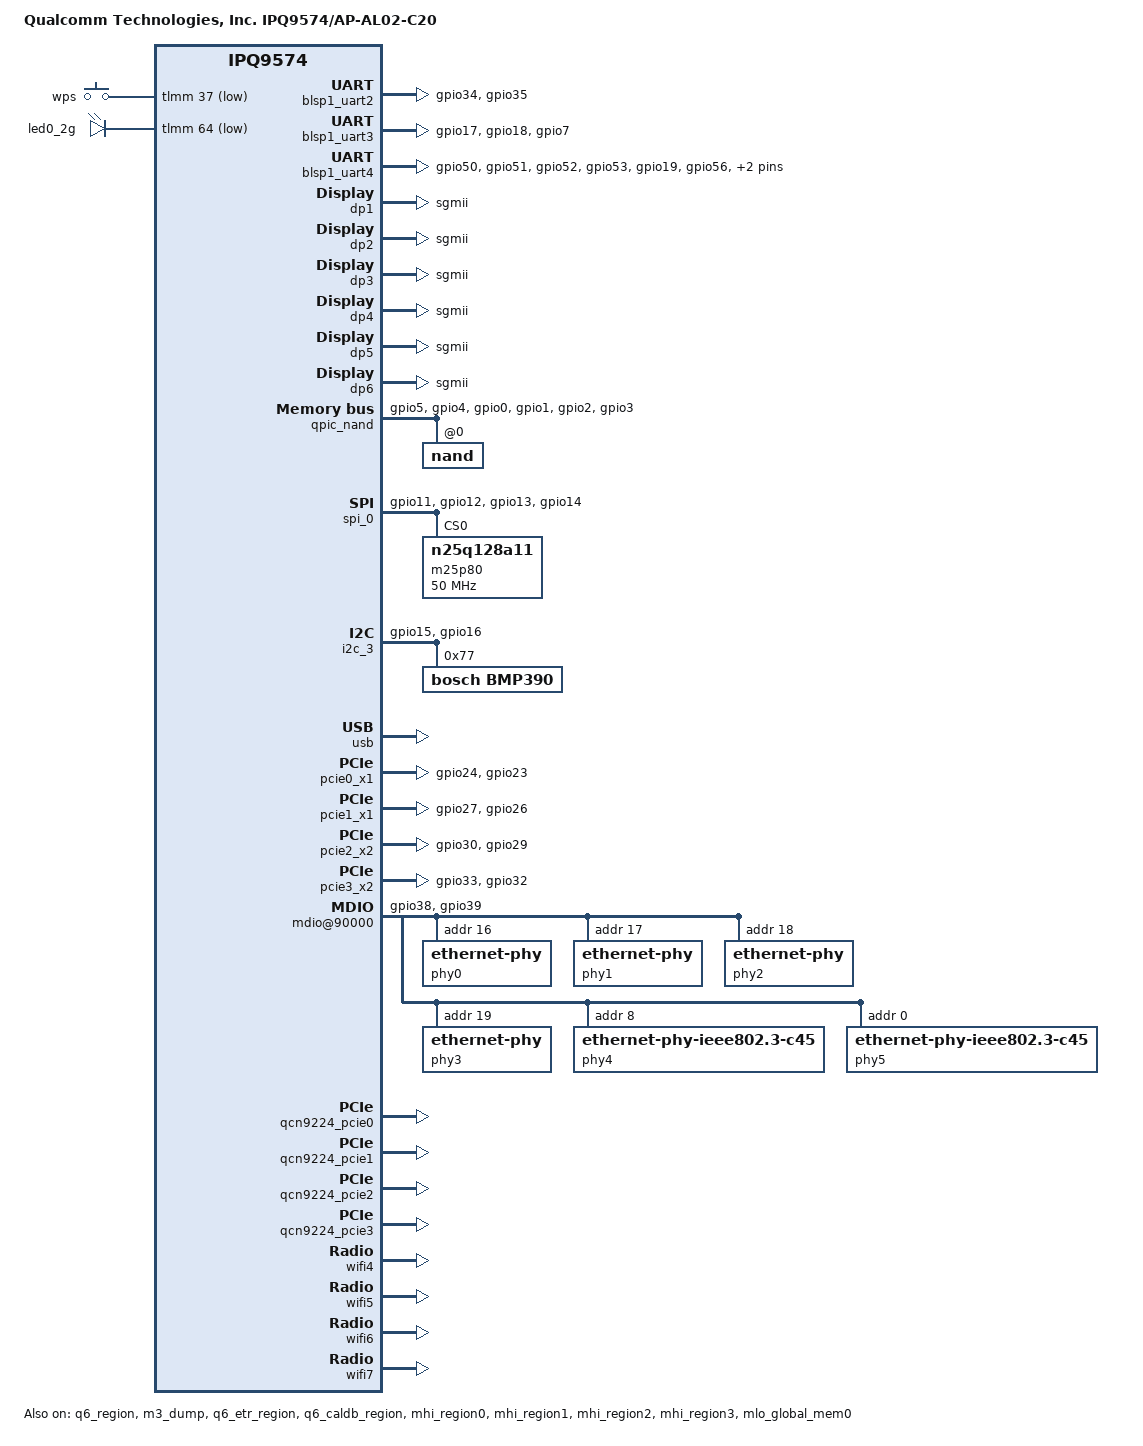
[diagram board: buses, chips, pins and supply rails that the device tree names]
// SPDX-License-Identifier: (GPL-2.0+ OR BSD-3-Clause)
/*
 * IPQ9574 AL02-C20 board device tree source
 *
 * Copyright (c) 2020-2021 The Linux Foundation. All rights reserved.
 * Copyright (c) 2021-2023 Qualcomm Innovation Center, Inc. All rights reserved.
 */

/dts-v1/;

#include "ipq9574.dtsi"
#include "ipq9574-wkk-default-memory.dtsi"
#include "ipq9574-cpu.dtsi"

/ {
	#address-cells = <0x2>;
	#size-cells = <0x2>;
	model = "Qualcomm Technologies, Inc. IPQ9574/AP-AL02-C20";
	compatible = "qcom,ipq9574-ap-al02-c20", "qcom,ipq9574-al02", "qcom,ipq9574";
	interrupt-parent = <&intc>;

	aliases {
		serial0 = &blsp1_uart2;
		serial1 = &blsp1_uart4;
		serial2 = &blsp1_uart3;
		ethernet0 = "/soc/dp1";
		ethernet1 = "/soc/dp2";
		ethernet2 = "/soc/dp3";
		ethernet3 = "/soc/dp4";
		ethernet4 = "/soc/dp5";
		ethernet5 = "/soc/dp6";
	};

	chosen {
		stdout-path = "serial0";
	};

	soc {
		pinctrl@1000000 {
			pci0_pin: pci0-pinmux {
				pins = "gpio23";
				function = "gpio";
				drive-strength = <8>;
				bias-pull-up;
				output-low;
			};

			pci1_pin: pci1-pinmux {
				pins = "gpio26";
				function = "gpio";
				drive-strength = <8>;
				bias-pull-down;
				output-low;
			};

			pci2_pin: pci2-pinmux {
				pins = "gpio29";
				function = "gpio";
				drive-strength = <8>;
				bias-pull-down;
				output-low;
			};

			pci3_pin: pci3-pinmux {
				pins = "gpio32";
				function = "gpio";
				drive-strength = <8>;
				bias-pull-up;
				output-low;
			};

			pcie0_wake_pins: pcie0_wake_gpio {
				pins = "gpio24";
				function = "pcie0_wake";
				drive-strength = <8>;
				bias-pull-up;
			};

			pcie1_wake_pins: pcie1_wake_gpio {
				pins = "gpio27";
				function = "pcie1_wake";
				drive-strength = <8>;
				bias-pull-up;
			};

			pcie2_wake_pins: pcie2_wake_gpio {
				pins = "gpio30";
				function = "pcie2_wake";
				drive-strength = <8>;
				bias-pull-up;
			};

			pcie3_wake_pins: pcie3_wake_gpio {
				pins = "gpio33";
				function = "pcie3_wake";
				drive-strength = <8>;
				bias-pull-up;
			};

			blsp1_uart2_pins: blsp1_uart2_pinmux {
				pins = "gpio34", "gpio35";
				function = "blsp2_uart";
				drive-strength = <8>;
				bias-disable;
			};

			gps_pins: gps_pins {
				blsp3_uart_pinmux {
					pins = "gpio17", "gpio18";
					function = "blsp3_uart";
					drive-strength = <8>;
					bias-disable;
				 };

				gps_on_off {
					pins = "gpio7";
					function = "gpio";
					drive-strength = <8>;
					bias-pull-down;
				 };
			 };

			leds_pins: leds_pinmux {
				led0_2g {
					pins = "gpio64";
					function = "gpio";
					drive-strength = <8>;
					bias-pull-up;
				};
			};

			qspi_nand_pins: qspi_nand_pins {
				qspi_clock {
					pins = "gpio5";
					function = "qspi_clk";
					drive-strength = <8>;
					bias-disable;
				};

				qspi_cs {
					pins = "gpio4";
					function = "qspi_cs";
					drive-strength = <8>;
					bias-disable;
				};

				qspi_data {
					pins = "gpio0", "gpio1", "gpio2", "gpio3";
					function = "qspi_data";
					drive-strength = <8>;
					bias-disable;
				};
			};

			spi_0_pins: spi-0-pins {
				pins = "gpio11", "gpio12", "gpio13", "gpio14";
				function = "blsp0_spi";
				drive-strength = <8>;
				bias-disable;
			};

			i2c_3_pins: i2c-3-pins {
				pins = "gpio15", "gpio16";
				function = "blsp3_i2c";
				drive-strength = <8>;
				bias-disable;
			};

			mdio_pins: mdio_pinmux {
				mux_0 {
					pins = "gpio38";
					function = "mdc";
					drive-strength = <8>;
					bias-disable;
				};
				mux_1 {
					pins = "gpio39";
					function = "mdio";
					drive-strength = <8>;
					bias-pull-up;
				};
			};

			button_pins: button_pins {
				wps_button {
					pins = "gpio37";
					function = "gpio";
					drive-strength = <8>;
					bias-pull-up;
				};
			};

			QCC710_pins: QCC710_pins {
				blsp1_uart4_pinmux {
					pins = "gpio50", "gpio51", "gpio52", "gpio53";
					function = "blsp4_uart";
					drive-strength = <8>;
					bias-disable;
				};
				QCC710_reset {
					pins = "gpio19";
					function = "gpio";
					drive-strength = <8>;
					bias-pull-down;
				};
			};

			pta_QCC710: pta_QCC710 {
				pta1_0 {
					pins = "gpio56";
					function = "pta1_0";
					drive-strength = <8>;
					bias-disable;
				};
				pta1_1 {
					pins = "gpio54";
					function = "pta1_1";
					drive-strength = <8>;
					bias-disable;
				};
				pta1_2 {
					pins = "gpio55";
					function = "pta1_2";
					drive-strength = <8>;
					bias-disable;
				};
			};
		};

		blsp1_uart2: serial@78b1000 {
			pinctrl-0 = <&blsp1_uart2_pins>;
			pinctrl-names = "default";
			status = "ok";
		};

		blsp1_uart3: serial@78b2000 {
			pinctrl-0 = <&gps_pins>;
			pinctrl-names = "default";
			status = "ok";
		 };

		blsp1_uart4: serial@78b3000 {
			pinctrl-0 = <&QCC710_pins &pta_QCC710>;
			pinctrl-names = "default";
			status = "ok";
		};

		gpio_keys {
			compatible = "gpio-keys";
			pinctrl-0 = <&button_pins>;
			pinctrl-names = "default";
			status = "ok";

			button@1 {
				label = "wps";
				linux,code = <KEY_WPS_BUTTON>;
				gpios = <&tlmm 37 GPIO_ACTIVE_LOW>;
				linux,input-type = <1>;
				debounce-interval = <60>;
			};
		};

		dp1 {
			device_type = "network";
			compatible = "qcom,nss-dp";
			qcom,id = <1>;
			reg = <0x3a001000 0x200>;
			qcom,mactype = <0>;
			qcom,link-poll = <1>;
			local-mac-address = [000000000000];
			qcom,phy-mdio-addr = <16>;
			phy-mode = "sgmii";
		};

		dp2 {
			device_type = "network";
			compatible = "qcom,nss-dp";
			qcom,id = <2>;
			reg = <0x3a001200 0x200>;
			qcom,mactype = <0>;
			qcom,link-poll = <1>;
			local-mac-address = [000000000000];
			qcom,phy-mdio-addr = <17>;
			phy-mode = "sgmii";
		};

		dp3 {
			device_type = "network";
			compatible = "qcom,nss-dp";
			qcom,id = <3>;
			reg = <0x3a001400 0x200>;
			qcom,mactype = <0>;
			qcom,link-poll = <1>;
			local-mac-address = [000000000000];
			qcom,phy-mdio-addr = <18>;
			phy-mode = "sgmii";
		};

		dp4 {
			device_type = "network";
			compatible = "qcom,nss-dp";
			qcom,id = <4>;
			reg = <0x3a001600 0x200>;
			qcom,mactype = <0>;
			qcom,link-poll = <1>;
			local-mac-address = [000000000000];
			qcom,phy-mdio-addr = <19>;
			phy-mode = "sgmii";
		};

		dp5 {
			device_type = "network";
			compatible = "qcom,nss-dp";
			qcom,id = <5>;
			reg = <0x3a510000 0x4000>;
			qcom,mactype = <1>;
			qcom,link-poll = <1>;
			local-mac-address = [000000000000];
			qcom,phy-mdio-addr = <8>;
			phy-mode = "sgmii";
		};

		dp6 {
			device_type = "network";
			compatible = "qcom,nss-dp";
			qcom,id = <6>;
			reg = <0x3a514000 0x4000>;
			qcom,mactype = <1>;
			qcom,link-poll = <1>;
			local-mac-address = [000000000000];
			qcom,phy-mdio-addr = <0>;
			phy-mode = "sgmii";
		};

		qpic_bam: dma@7984000 {
			status = "ok";
		};

		qpic_nand: nand@79b0000 {
			status = "ok";
			pinctrl-0 = <&qspi_nand_pins>;
			pinctrl-names = "default";

			nand@0 {
				reg = <0>;
				#address-cells = <1>;
				#size-cells = <1>;

				nand-ecc-strength = <4>;
				nand-ecc-step-size = <512>;
				nand-bus-width = <8>;
			};
		};

		spi_0: spi@78b5000 { /* BLSP1 QUP0 */
			status = "ok";
			pinctrl-0 = <&spi_0_pins>;
			pinctrl-names = "default";
			cs-select = <0>;

			m25p80@0 {
				compatible = "n25q128a11";
				#address-cells = <1>;
				#size-cells = <1>;
				reg = <0>;
				spi-max-frequency = <50000000>;
			};
		};

		eud: qcom,msm-eud {
			status = "ok";
		};

		i2c_3: i2c@78b8000 {
			status = "ok";
			pinctrl-0 = <&i2c_3_pins>;
			pinctrl-names = "default";

			bmp390@77 {
				compatible = "bosch,bmp390";
				reg = <0x77>;
			};
		};

		usb: usb3@8A00000 {
			status = "ok";
		};

		qusb_phy_0: qusb@7B000 {
			status = "ok";
		};

		ssphy_0: ssphy@7D000 {
			status = "ok";
		};

		leds {
			compatible = "gpio-leds";
			pinctrl-0 = <&leds_pins>;
			pinctrl-names = "default";
			led@64 {
				label = "led0_2g";
				gpios = <&tlmm 64 GPIO_ACTIVE_LOW>;
				linux,default-trigger = "led_2g";
				default-state = "off";
			};
		};

		wsi: wsi {
			id = <0>;
			num_chip = <4>;
		};

		pcie0_x1: pci@28000000 {
			pinctrl-0 = <&pcie0_wake_pins &pci0_pin>;
			pinctrl-names = "default";
			interrupts-extended = <&tlmm 24 IRQ_TYPE_LEVEL_HIGH>,
					      <&intc GIC_SPI 51 IRQ_TYPE_LEVEL_HIGH>;
			interrupt-names = "wake_gpio", "global_irq";
			perst-gpio = <&tlmm 23 1>;
			max-payload-size = <1>; // 1-256 TLP bytes for WKK
			status = "ok";
			pcie0_rp {
				reg = <0 0 0 0 0>;

				wifi@0 {
					reg = <0 0 0 0 0>;

					qti,disable-rddm-prealloc;
					qti,rddm-seg-len = <0x1000>;
					boot-args = <0x2 0x4 0x34 0x3 0x0 0x0     /* MX Rail, GPIO52, Drive strength 0x3 */
							0x4 0x4 0x18 0x3 0x0 0x0  /* RFA1p2 Rail, GPIO24, Drive strength 0x3 */
							0x0 0x4 0x0 0x0 0x0 0x0>; /* End of arguments */
					license-file = "";
					qcom,wsi = <&wsi>;
#if defined(__CNSS2__)
					qrtr_node_id = <0x30>;
					memory-region = <0>,<&mhi_region0>;
#endif
				};

			};
		};

		pcie0_phy: phy@84000 {
			status = "ok";
		};

		pcie1_x1: pci@10000000 {
			pinctrl-0 = <&pcie1_wake_pins &pci1_pin>;
			pinctrl-names = "default";
			interrupts-extended = <&tlmm 27 IRQ_TYPE_LEVEL_HIGH>,
					      <&intc GIC_SPI 25 IRQ_TYPE_LEVEL_HIGH>;
			interrupt-names = "wake_gpio", "global_irq";
			perst-gpio = <&tlmm 26 1>;
			max-payload-size = <1>; // 1-256 TLP bytes for WKK
			status = "ok";
			pcie1_rp {
				reg = <0 0 0 0 0>;

				wifi@1 {
					reg = <0 0 0 0 0>;

					qti,disable-rddm-prealloc;
					qti,rddm-seg-len = <0x1000>;
					boot-args = <0x2 0x4 0x34 0x3 0x0 0x0     /* MX Rail, GPIO52, Drive strength 0x3 */
							0x4 0x4 0x18 0x3 0x0 0x0  /* RFA1p2 Rail, GPIO24, Drive strength 0x3 */
							0x0 0x4 0x0 0x0 0x0 0x0>; /* End of arguments */
					license-file = "";
					qcom,wsi = <&wsi>;
#if defined(__CNSS2__)
					qrtr_node_id = <0x31>;
					memory-region = <0>,<&mhi_region1>;
#else
				       /* qcn9224 tgt-mem-mode=0 layout - 46MB
					* refer ipq9574-wkk-default-memory.dtsi
					* +=========+==============+=========+
					* |  Region | Start Offset |   Size  |
					* +---------+--------------+---------+
					* | HREMOTE |  0x52500000  |   36MB  |
					* +---------+--------------+---------+
					* | M3 Dump |  0x54900000  |   1MB   |
					* +---------+--------------+---------+
					* |   ETR   |  0x54A00000  |   1MB   |
					* +---------+--------------+---------+
					* |  Caldb  |  0x54B00000  |   8MB   |
					* +==================================+
					*/
					memory-region = <&qcn9224_pcie1>;
					qcom,board_id = <0x01>;
#endif
				};
			};
		};

		pcie1_phy: phy@fc000 {
			status = "ok";
		};

		pcie2_x2: pci@20000000 {
			pinctrl-0 = <&pcie2_wake_pins &pci2_pin>;
			pinctrl-names = "default";
			interrupts-extended = <&tlmm 30 IRQ_TYPE_LEVEL_HIGH>,
					      <&intc GIC_SPI 125 IRQ_TYPE_LEVEL_HIGH>;
			interrupt-names = "wake_gpio", "global_irq";
			perst-gpio = <&tlmm 29 1>;
			max-payload-size = <1>; // 1-256 TLP bytes for WKK
			status = "ok";
			pcie2_rp {
				reg = <0 0 0 0 0>;

				wifi@2 {
					reg = <0 0 0 0 0>;

					qti,disable-rddm-prealloc;
					qti,rddm-seg-len = <0x1000>;
					boot-args = <0x2 0x4 0x34 0x3 0x0 0x0     /* MX Rail, GPIO52, Drive strength 0x3 */
							0x4 0x4 0x18 0x3 0x0 0x0  /* RFA1p2 Rail, GPIO24, Drive strength 0x3 */
							0x0 0x4 0x0 0x0 0x0 0x0>; /* End of arguments */
					license-file = "";
					qcom,wsi = <&wsi>;
#if defined(__CNSS2__)
					qrtr_node_id = <0x32>;
					memory-region = <0>,<&mhi_region2>;
#else
					/* qcn9224 tgt-mem-mode=0 layout - 46MB
					* refer ipq9574-wkk-default-memory.dtsi
					* +=========+==============+=========+
					* |  Region | Start Offset |   Size  |
					* +---------+--------------+---------+
					* | HREMOTE |  0x56D00000  |   36MB  |
					* +---------+--------------+---------+
					* | M3 Dump |  0x59100000  |   1MB   |
					* +---------+--------------+---------+
					* |   ETR   |  0x59200000  |   1MB   |
					* +---------+--------------+---------+
					* |  Caldb  |  0x59300000  |   8MB   |
					* +==================================+
					*/
					memory-region = <&qcn9224_pcie2>;
					qcom,board_id = <0x04>;
#endif
				};
			};
		};

		pcie2_phy: phy@8c000 {
			status = "ok";
		};

		pcie3_x2: pci@18000000 {
			pinctrl-0 = <&pcie3_wake_pins &pci3_pin>;
			pinctrl-names = "default";
			interrupts-extended = <&tlmm 33 IRQ_TYPE_LEVEL_HIGH>,
					      <&intc GIC_SPI 188 IRQ_TYPE_LEVEL_HIGH>;
			interrupt-names = "wake_gpio", "global_irq";
			perst-gpio = <&tlmm 32 1>;
			max-payload-size = <1>; // 1-256 TLP bytes for WKK
			status = "ok";
			pcie3_rp {
				reg = <0 0 0 0 0>;

				wifi@3 {
					reg = <0 0 0 0 0>;

					qti,disable-rddm-prealloc;
					qti,rddm-seg-len = <0x1000>;
					boot-args = <0x2 0x4 0x34 0x3 0x0 0x0     /* MX Rail, GPIO52, Drive strength 0x3 */
							0x4 0x4 0x18 0x3 0x0 0x0  /* RFA1p2 Rail, GPIO24, Drive strength 0x3 */
							0x0 0x4 0x0 0x0 0x0 0x0>; /* End of arguments */
					license-file = "";
					qcom,wsi = <&wsi>;
#if defined(__CNSS2__)
					qrtr_node_id = <0x33>;
					memory-region = <0>,<&mhi_region3>;
#else
					/* qcn9224 tgt-mem-mode=0 layout - 46MB
					 * refer ipq9574-wkk-default-memory.dtsi
					 * +=========+==============+=========+
					 * |  Region | Start Offset |   Size  |
					 * +---------+--------------+---------+
					 * | HREMOTE |  0x5B500000  |   36MB  |
					 * +---------+--------------+---------+
					 * | M3 Dump |  0x5D900000  |   1MB   |
					 * +---------+--------------+---------+
					 * |   ETR   |  0x5DA00000  |   1MB   |
					 * +---------+--------------+---------+
					 * |  Caldb  |  0x5DB00000  |   8MB   |
					 * +==================================+
					 */
					memory-region = <&qcn9224_pcie3>;
					qcom,board_id = <0x02>;
#endif
				};
			};
		};

		pcie3_phy: phy@f4000 {
			status = "ok";
		};

		qcom,test@0 {
			qcom,wlan-ramdump-dynamic = <0x600000>;
		};

		mdio@90000 {
			status = "ok";
			pinctrl-0 = <&mdio_pins>;
			pinctrl-names = "default";
			/*gpio60 for malibu reset, gpio36 for both aqr reset reserved */
			phy-reset-gpio = <&tlmm 60 0>;
			phy0: ethernet-phy@0 {
				reg = <16>;
			};
			phy1: ethernet-phy@1 {
				reg = <17>;
			};
			phy2: ethernet-phy@2 {
				reg = <18>;
			};
			phy3: ethernet-phy@3 {
				reg = <19>;
			};
			phy4: ethernet-phy@4 {
				compatible ="ethernet-phy-ieee802.3-c45";
				reg = <8>;
			};
			phy5: ethernet-phy@5 {
				compatible ="ethernet-phy-ieee802.3-c45";
				reg = <0>;
			};
		};

		ess-instance {
			num_devices = <0x1>;
			ess-switch@3a000000 {
				switch_cpu_bmp = <0x1>;  /* cpu port bitmap */
				switch_lan_bmp = <0x3e>; /* lan port bitmap */
				switch_wan_bmp = <0x40>; /* wan port bitmap */
				switch_mac_mode = <0x0>; /* mac mode for uniphy instance0*/
				switch_mac_mode1 = <0xd>; /* mac mode for uniphy instance1*/
				switch_mac_mode2 = <0xd>; /* mac mode for uniphy instance2*/
				bm_tick_mode = <0>; /* bm tick mode */
				tm_tick_mode = <0>; /* tm tick mode */

				qcom,port_phyinfo {
					port@0 {
						port_id = <1>;
						phy_address = <16>;
					};
					port@1 {
						port_id = <2>;
						phy_address = <17>;
					};
					port@2 {
						port_id = <3>;
						phy_address = <18>;
					};
					port@3 {
						port_id = <4>;
						phy_address = <19>;
					};
					port@4 {
						port_id = <5>;
						phy_address = <8>;
						ethernet-phy-ieee802.3-c45;
					};
					port@5 {
						port_id = <6>;
						phy_address = <0>;
						ethernet-phy-ieee802.3-c45;
					};
				};

			};
		};

		/* EDMA host driver configuration for the board */
		edma@3ab00000 {
			qcom,txdesc-ring-start = <4>;		/* Tx desc ring start ID */
			qcom,txdesc-rings = <28>;		/* Total number of Tx desc rings to be provisioned */
			qcom,txcmpl-ring-start = <4>;		/* Tx complete ring start ID */
			qcom,txcmpl-rings = <28>;		/* Total number of Tx complete rings to be provisioned */
			qcom,rxfill-ring-start = <4>;		/* Rx fill ring start ID */
			qcom,rxfill-rings = <4>;		/* Total number of Rx fill rings to be provisioned */
			qcom,rxdesc-ring-start = <20>;		/* Rx desc ring start ID */
			qcom,rxdesc-rings = <4>;		/* Total number of Rx desc rings to be provisioned */
			qcom,rx-page-mode = <0>;		/* Rx fill ring page mode */
			qcom,tx-map-priority-level = <1>;	/* Tx priority level per port */
			qcom,rx-map-priority-level = <1>;	/* Rx priority level per core */
			qcom,ppeds-num = <4>;			/* Number of PPEDS nodes */
			/* PPE-DS node format: <Rx-fill Tx-cmpl Rx Tx Queue-base Queue-count> */
			qcom,ppeds-map = <1 1 1 1 32 8>,	/* PPEDS Node#0 ring and queue map */
					<2 2 2 2 40 8>,		/* PPEDS Node#1 ring and queue map */
					<3 3 3 3 48 8>,		/* PPEDS Node#2 ring and queue map */
					<0 0 0 0 56 8>;		/* PPEDS Node#3 ring and queue map */
			qcom,txdesc-map = <8 9 10 11>,		/* Port0 per-core Tx ring map */
					<12 13 14 15>,		/* Port1 per-core Tx ring map */
					<16 17 18 19>,		/* Port2 per-core Tx ring map */
					<20 21 22 23>,		/* Port3 per-core Tx ring map */
					<24 25 26 27>,		/* Port4 per-core Tx ring map */
					<28 29 30 31>,		/* Port5 per-core Tx ring map */
					<4 5 6 7>;		/* Used only for VP" */
			qcom,txdesc-fc-grp-map = <1 2 3 4 5 6>;	/* Per GMAC flow control group map */
			qcom,rxfill-map = <4 5 6 7>;		/* Per-core Rx fill ring map */
			qcom,rxdesc-map = <20 21 22 23>;	/* Per-core Rx desc ring map */
			qcom,rx-queue-start = <0>;		/* Rx queue start */
			qcom,rx-ring-queue-map = <0 8 16 24>,	/* Priority 0 queues per-core Rx ring map */
					<1 9 17 25>,		/* Priority 1 queues per-core Rx ring map */
					<2 10 18 26>,		/* Priority 2 queues per-core Rx ring map */
					<3 11 19 27>,		/* Priority 3 queues per-core Rx ring map */
					<4 12 20 28>,		/* Priority 4 queues per-core Rx ring map */
					<5 13 21 29>,		/* Priority 5 queues per-core Rx ring map */
					<6 14 22 30>,		/* Priority 6 queues per-core Rx ring map */
					<7 15 23 31>;		/* Priority 7 queues per-core Rx ring map */
			qcom,txdesc_point_offload_ring = <0>;		/* Txdesc point offlaod ring */
			qcom,txcmpl_point_offload_ring = <0>;		/* Txcmpl point offlaod ring */
			qcom,rxfill_point_offload_ring = <0>;		/* Rxfill point offlaod ring */
			qcom,rxdesc_point_offload_ring = <0>;		/* Rxdesc point offlaod ring */
			qcom,vp-id = <8>;			/* Virtual port dummy MAC Id */
			interrupts = <0 367 4>,			/* Tx complete ring id #4 IRQ info */
				   <0 368 4>,			/* Tx complete ring id #5 IRQ info */
				   <0 369 4>,			/* Tx complete ring id #6 IRQ info */
				   <0 370 4>,			/* Tx complete ring id #7 IRQ info */
				   <0 371 4>,			/* Tx complete ring id #8 IRQ info */
				   <0 372 4>,			/* Tx complete ring id #9 IRQ info */
				   <0 373 4>,			/* Tx complete ring id #10 IRQ info */
				   <0 374 4>,			/* Tx complete ring id #11 IRQ info */
				   <0 375 4>,			/* Tx complete ring id #12 IRQ info */
				   <0 376 4>,			/* Tx complete ring id #13 IRQ info */
				   <0 377 4>,			/* Tx complete ring id #14 IRQ info */
				   <0 378 4>,			/* Tx complete ring id #15 IRQ info */
				   <0 379 4>,			/* Tx complete ring id #16 IRQ info */
				   <0 380 4>,			/* Tx complete ring id #17 IRQ info */
				   <0 381 4>,			/* Tx complete ring id #18 IRQ info */
				   <0 382 4>,			/* Tx complete ring id #19 IRQ info */
				   <0 383 4>,			/* Tx complete ring id #20 IRQ info */
				   <0 384 4>,			/* Tx complete ring id #21 IRQ info */
				   <0 509 4>,			/* Tx complete ring id #22 IRQ info */
				   <0 508 4>,			/* Tx complete ring id #23 IRQ info */
				   <0 507 4>,			/* Tx complete ring id #24 IRQ info */
				   <0 506 4>,			/* Tx complete ring id #25 IRQ info */
				   <0 505 4>,			/* Tx complete ring id #26 IRQ info */
				   <0 504 4>,			/* Tx complete ring id #27 IRQ info */
				   <0 503 4>,			/* Tx complete ring id #28 IRQ info */
				   <0 502 4>,			/* Tx complete ring id #29 IRQ info */
				   <0 501 4>,			/* Tx complete ring id #30 IRQ info */
				   <0 500 4>,			/* Tx complete ring id #31 IRQ info */
				   <0 351 4>,			/* Rx desc ring id #20 IRQ info */
				   <0 352 4>,			/* Rx desc ring id #21 IRQ info */
				   <0 353 4>,			/* Rx desc ring id #22 IRQ info */
				   <0 354 4>,			/* Rx desc ring id #23 IRQ info */
				   <0 499 4>,			/* Misc error IRQ info */
				   <0 364 4>,			/* PPEDS Node #0(TxComp ring id #1) TxComplete IRQ info */
				   <0 332 4>,			/* PPEDS Node #0(Rx Desc ring id #1) Rx Desc IRQ info */
				   <0 356 4>,			/* PPEDS Node #0(RxFill Desc ring id #1) Rx Fill IRQ info */
				   <0 365 4>,			/* PPEDS Node #1(TxComp ring id #2) TxComplete IRQ info */
				   <0 333 4>,			/* PPEDS Node #1(Rx Desc ring id #2) Rx Desc IRQ info */
				   <0 357 4>,			/* PPEDS Node #1(RxFill Desc ring id #2) Rx Fill IRQ info */
				   <0 366 4>,			/* PPEDS Node #2(TxComp ring id #3) TxComplete IRQ info */
				   <0 334 4>,			/* PPEDS Node #2(Rx Desc ring id #3) Rx Desc IRQ info */
				   <0 358 4>,			/* PPEDS Node #2(RxFill Desc ring id #3) Rx Fill IRQ info */
				   <0 363 4>,			/* PPEDS Node #3(TxComp ring id #0) TxComplete IRQ info */
				   <0 331 4>,			/* PPEDS Node #3(Rx Desc ring id #0) Rx Desc IRQ info */
				   <0 355 4>;			/* PPEDS Node #3(RxFill Desc ring id #0) Rx Fill IRQ info */

		};

	};
};

/* Enable IPQ9574 integrated radio's reserved memory */
&q6_region {
	status = "ok";
};

&m3_dump {
	status = "ok";
};

&q6_etr_region {
	status = "ok";
};

&q6_caldb_region {
	status = "ok";
};

/* Enable the reserved memory regions of QCN9224 on PCIe0, PCIe1, PCIe2, PCIe3 */

&mhi_region0 {
	status = "ok";
};

&qcn9224_pcie0 {
	status = "ok";
};

&qcn9224_pcie1 {
	status = "ok";
};

&mhi_region1 {
	status = "ok";
};

&qcn9224_pcie2 {
	status = "ok";
};

&mhi_region2 {
	status = "ok";
};

&qcn9224_pcie3 {
	status = "ok";
};

&mhi_region3 {
	status = "ok";
};

/* MLO GLOBAL MEM REGION size is 22MB for RDP with 4 QCN9224 radios */
&mlo_global_mem0 {
	size = <0x0 0x1800000>;
	status = "ok";
};

&wifi0 {
       led-gpio = <&tlmm 64 1>;
       status = "disabled";
};

&wifi4 {
	hremote_node = <&qcn9224_pcie0>;
	board_id = <0x01>;
	/delete-property/ interrupt-bmap;
	hw_link_id = <0 0>;
	status = "ok";
};

&wifi5 {
	hremote_node = <&qcn9224_pcie1>;
	board_id = <0x011>;
	/delete-property/ interrupt-bmap;
	hw_link_id = <3 0>;
	status = "ok";
};

&wifi6 {
	hremote_node = <&qcn9224_pcie2>;
	board_id = <0x04>;
	hw_link_id = <2 0>;
	status = "ok";
};

&wifi7 {
	hremote_node = <&qcn9224_pcie3>;
	board_id = <0x12>;
	hw_link_id = <1 0>;
	status = "ok";
};
